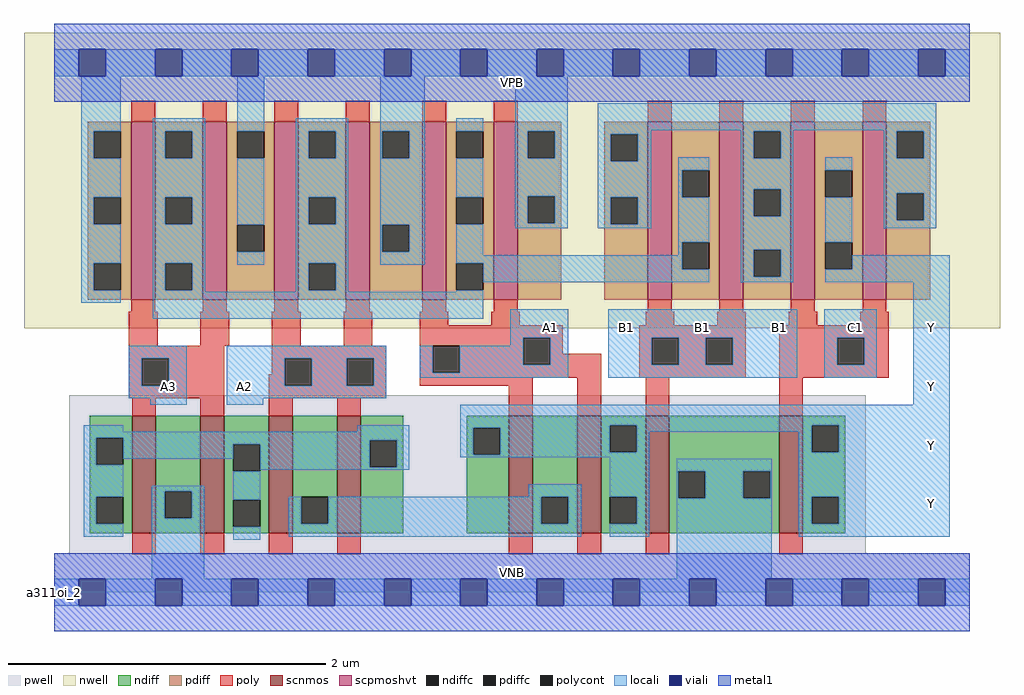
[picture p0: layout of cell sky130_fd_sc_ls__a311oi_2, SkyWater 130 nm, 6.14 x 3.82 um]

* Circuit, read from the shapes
.subckt sky130_fd_sc_ls__a311oi_2 A1 A2 A3 B1 C1 VGND VNB VPB VPWR Y
XM1 VGND A3 n1 VNB sky130_fd_pr__nfet_01v8 w=0.74 l=0.15 m=2
XM2 n2 A2 n1 VNB sky130_fd_pr__nfet_01v8 w=0.74 l=0.15 m=2
XM3 n2 A1 Y VNB sky130_fd_pr__nfet_01v8 w=0.74 l=0.15 m=2
XM4 VGND B1 Y VNB sky130_fd_pr__nfet_01v8 w=0.74 l=0.15
XM5 Y C1 VGND VNB sky130_fd_pr__nfet_01v8 w=0.74 l=0.15
XM6 n3 A3 VPWR VPB sky130_fd_pr__pfet_01v8_hvt w=1.12 l=0.15 m=2
XM7 n3 A2 VPWR VPB sky130_fd_pr__pfet_01v8_hvt w=1.12 l=0.15 m=2
XM8 n3 A1 VPWR VPB sky130_fd_pr__pfet_01v8_hvt w=1.12 l=0.15 m=2
XM9 n3 B1 n4 VPB sky130_fd_pr__pfet_01v8_hvt w=1.12 l=0.15 m=2
XM10 Y C1 n4 VPB sky130_fd_pr__pfet_01v8_hvt w=1.12 l=0.15 m=2
.ends

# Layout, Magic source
magic
tech sky130A
magscale 1 2
<< nwell >>
rect -38 332 1190 704
<< pwell >>
rect 19 49 1021 248
rect 0 0 1152 49
<< scnmos >>
rect 98 74 128 222
rect 184 74 214 222
rect 270 74 300 222
rect 356 74 386 222
rect 572 74 602 222
rect 658 74 688 222
rect 744 74 774 222
rect 912 74 942 222
<< scpmoshvt >>
rect 97 368 127 592
rect 187 368 217 592
rect 277 368 307 592
rect 367 368 397 592
rect 463 368 493 592
rect 553 368 583 592
rect 747 368 777 592
rect 837 368 867 592
rect 927 368 957 592
rect 1017 368 1047 592
<< ndiff >>
rect 45 194 98 222
rect 45 160 53 194
rect 87 160 98 194
rect 45 120 98 160
rect 45 86 53 120
rect 87 86 98 120
rect 45 74 98 86
rect 128 127 184 222
rect 128 93 139 127
rect 173 93 184 127
rect 128 74 184 93
rect 214 186 270 222
rect 214 152 225 186
rect 259 152 270 186
rect 214 116 270 152
rect 214 82 225 116
rect 259 82 270 116
rect 214 74 270 82
rect 300 120 356 222
rect 300 86 311 120
rect 345 86 356 120
rect 300 74 356 86
rect 386 191 439 222
rect 386 157 397 191
rect 431 157 439 191
rect 386 74 439 157
rect 519 207 572 222
rect 519 173 527 207
rect 561 173 572 207
rect 519 74 572 173
rect 602 120 658 222
rect 602 86 613 120
rect 647 86 658 120
rect 602 74 658 86
rect 688 210 744 222
rect 688 176 699 210
rect 733 176 744 210
rect 688 120 744 176
rect 688 86 699 120
rect 733 86 744 120
rect 688 74 744 86
rect 774 152 912 222
rect 774 118 785 152
rect 819 118 867 152
rect 901 118 912 152
rect 774 74 912 118
rect 942 210 995 222
rect 942 176 953 210
rect 987 176 995 210
rect 942 120 995 176
rect 942 86 953 120
rect 987 86 995 120
rect 942 74 995 86
<< pdiff >>
rect 42 580 97 592
rect 42 546 50 580
rect 84 546 97 580
rect 42 497 97 546
rect 42 463 50 497
rect 84 463 97 497
rect 42 414 97 463
rect 42 380 50 414
rect 84 380 97 414
rect 42 368 97 380
rect 127 580 187 592
rect 127 546 140 580
rect 174 546 187 580
rect 127 497 187 546
rect 127 463 140 497
rect 174 463 187 497
rect 127 414 187 463
rect 127 380 140 414
rect 174 380 187 414
rect 127 368 187 380
rect 217 580 277 592
rect 217 546 230 580
rect 264 546 277 580
rect 217 462 277 546
rect 217 428 230 462
rect 264 428 277 462
rect 217 368 277 428
rect 307 580 367 592
rect 307 546 320 580
rect 354 546 367 580
rect 307 497 367 546
rect 307 463 320 497
rect 354 463 367 497
rect 307 414 367 463
rect 307 380 320 414
rect 354 380 367 414
rect 307 368 367 380
rect 397 580 463 592
rect 397 546 413 580
rect 447 546 463 580
rect 397 462 463 546
rect 397 428 413 462
rect 447 428 463 462
rect 397 368 463 428
rect 493 580 553 592
rect 493 546 506 580
rect 540 546 553 580
rect 493 497 553 546
rect 493 463 506 497
rect 540 463 553 497
rect 493 414 553 463
rect 493 380 506 414
rect 540 380 553 414
rect 493 368 553 380
rect 583 580 638 592
rect 583 546 596 580
rect 630 546 638 580
rect 583 498 638 546
rect 583 464 596 498
rect 630 464 638 498
rect 583 368 638 464
rect 692 576 747 592
rect 692 542 700 576
rect 734 542 747 576
rect 692 497 747 542
rect 692 463 700 497
rect 734 463 747 497
rect 692 368 747 463
rect 777 531 837 592
rect 777 497 790 531
rect 824 497 837 531
rect 777 440 837 497
rect 777 406 790 440
rect 824 406 837 440
rect 777 368 837 406
rect 867 580 927 592
rect 867 546 880 580
rect 914 546 927 580
rect 867 507 927 546
rect 867 473 880 507
rect 914 473 927 507
rect 867 431 927 473
rect 867 397 880 431
rect 914 397 927 431
rect 867 368 927 397
rect 957 531 1017 592
rect 957 497 970 531
rect 1004 497 1017 531
rect 957 440 1017 497
rect 957 406 970 440
rect 1004 406 1017 440
rect 957 368 1017 406
rect 1047 580 1102 592
rect 1047 546 1060 580
rect 1094 546 1102 580
rect 1047 502 1102 546
rect 1047 468 1060 502
rect 1094 468 1102 502
rect 1047 368 1102 468
<< ndiffc >>
rect 53 160 87 194
rect 53 86 87 120
rect 139 93 173 127
rect 225 152 259 186
rect 225 82 259 116
rect 311 86 345 120
rect 397 157 431 191
rect 527 173 561 207
rect 613 86 647 120
rect 699 176 733 210
rect 699 86 733 120
rect 785 118 819 152
rect 867 118 901 152
rect 953 176 987 210
rect 953 86 987 120
<< pdiffc >>
rect 50 546 84 580
rect 50 463 84 497
rect 50 380 84 414
rect 140 546 174 580
rect 140 463 174 497
rect 140 380 174 414
rect 230 546 264 580
rect 230 428 264 462
rect 320 546 354 580
rect 320 463 354 497
rect 320 380 354 414
rect 413 546 447 580
rect 413 428 447 462
rect 506 546 540 580
rect 506 463 540 497
rect 506 380 540 414
rect 596 546 630 580
rect 596 464 630 498
rect 700 542 734 576
rect 700 463 734 497
rect 790 497 824 531
rect 790 406 824 440
rect 880 546 914 580
rect 880 473 914 507
rect 880 397 914 431
rect 970 497 1004 531
rect 970 406 1004 440
rect 1060 546 1094 580
rect 1060 468 1094 502
<< poly >>
rect 97 592 127 618
rect 187 592 217 618
rect 277 592 307 618
rect 367 592 397 618
rect 463 592 493 618
rect 553 592 583 618
rect 747 592 777 618
rect 837 592 867 618
rect 927 592 957 618
rect 1017 592 1047 618
rect 97 353 127 368
rect 187 353 217 368
rect 277 353 307 368
rect 367 353 397 368
rect 463 353 493 368
rect 553 353 583 368
rect 747 353 777 368
rect 837 353 867 368
rect 927 353 957 368
rect 1017 353 1047 368
rect 94 310 130 353
rect 184 310 220 353
rect 274 310 310 353
rect 364 310 400 353
rect 460 336 496 353
rect 550 336 586 353
rect 744 336 780 353
rect 834 336 870 353
rect 924 336 960 353
rect 1014 336 1050 353
rect 460 320 640 336
rect 460 310 590 320
rect 94 294 214 310
rect 94 260 110 294
rect 144 260 214 294
rect 274 294 418 310
rect 274 274 290 294
rect 94 244 214 260
rect 98 222 128 244
rect 184 222 214 244
rect 270 260 290 274
rect 324 260 368 294
rect 402 260 418 294
rect 460 276 476 310
rect 510 286 590 310
rect 624 300 640 320
rect 736 320 870 336
rect 624 286 688 300
rect 510 276 688 286
rect 460 270 688 276
rect 736 286 752 320
rect 786 286 820 320
rect 854 286 870 320
rect 736 270 870 286
rect 912 320 1050 336
rect 912 286 985 320
rect 1019 286 1050 320
rect 912 270 1050 286
rect 460 260 602 270
rect 270 244 418 260
rect 270 222 300 244
rect 356 222 386 244
rect 572 222 602 260
rect 658 222 688 270
rect 744 222 774 270
rect 912 222 942 270
rect 98 48 128 74
rect 184 48 214 74
rect 270 48 300 74
rect 356 48 386 74
rect 572 48 602 74
rect 658 48 688 74
rect 744 48 774 74
rect 912 48 942 74
<< polycont >>
rect 110 260 144 294
rect 290 260 324 294
rect 368 260 402 294
rect 476 276 510 310
rect 590 286 624 320
rect 752 286 786 320
rect 820 286 854 320
rect 985 286 1019 320
<< locali >>
rect 0 649 31 683
rect 65 649 127 683
rect 161 649 223 683
rect 257 649 319 683
rect 353 649 415 683
rect 449 649 511 683
rect 545 649 607 683
rect 641 649 703 683
rect 737 649 799 683
rect 833 649 895 683
rect 929 649 991 683
rect 1025 649 1087 683
rect 1121 649 1152 683
rect 34 580 84 649
rect 34 546 50 580
rect 34 497 84 546
rect 34 463 50 497
rect 34 414 84 463
rect 34 380 50 414
rect 34 364 84 380
rect 124 580 190 596
rect 124 546 140 580
rect 174 546 190 580
rect 124 497 190 546
rect 124 463 140 497
rect 174 463 190 497
rect 124 414 190 463
rect 124 380 140 414
rect 174 380 190 414
rect 230 580 264 649
rect 230 462 264 546
rect 230 412 264 428
rect 304 580 370 596
rect 304 546 320 580
rect 354 546 370 580
rect 304 497 370 546
rect 304 463 320 497
rect 354 463 370 497
rect 304 414 370 463
rect 124 378 190 380
rect 304 380 320 414
rect 354 380 370 414
rect 410 580 466 649
rect 410 546 413 580
rect 447 546 466 580
rect 410 462 466 546
rect 410 428 413 462
rect 447 428 466 462
rect 410 412 466 428
rect 506 580 540 596
rect 506 497 540 546
rect 506 424 540 463
rect 580 580 646 649
rect 580 546 596 580
rect 630 546 646 580
rect 580 498 646 546
rect 580 464 596 498
rect 630 464 646 498
rect 580 458 646 464
rect 684 581 1110 615
rect 684 576 751 581
rect 684 542 700 576
rect 734 542 751 576
rect 864 580 930 581
rect 684 497 751 542
rect 684 463 700 497
rect 734 463 751 497
rect 684 458 751 463
rect 785 531 824 547
rect 785 497 790 531
rect 785 440 824 497
rect 785 424 790 440
rect 506 414 790 424
rect 304 378 370 380
rect 540 406 790 414
rect 540 390 824 406
rect 864 546 880 580
rect 914 546 930 580
rect 1044 580 1110 581
rect 864 507 930 546
rect 864 473 880 507
rect 914 473 930 507
rect 864 431 930 473
rect 864 397 880 431
rect 914 397 930 431
rect 864 390 930 397
rect 970 531 1004 547
rect 970 440 1004 497
rect 1044 546 1060 580
rect 1094 546 1110 580
rect 1044 502 1110 546
rect 1044 468 1060 502
rect 1094 468 1110 502
rect 1044 458 1110 468
rect 1004 406 1127 424
rect 970 390 1127 406
rect 506 378 540 380
rect 124 344 540 378
rect 574 320 647 356
rect 574 310 590 320
rect 94 294 167 310
rect 94 260 110 294
rect 144 260 167 294
rect 94 244 167 260
rect 121 236 167 244
rect 217 294 418 310
rect 217 260 290 294
rect 324 260 368 294
rect 402 260 418 294
rect 460 276 476 310
rect 510 286 590 310
rect 624 286 647 320
rect 510 276 647 286
rect 460 270 647 276
rect 697 320 935 356
rect 697 286 752 320
rect 786 286 820 320
rect 854 286 935 320
rect 697 270 935 286
rect 969 320 1035 356
rect 969 286 985 320
rect 1019 286 1035 320
rect 969 270 1035 286
rect 217 244 418 260
rect 217 236 263 244
rect 1081 236 1127 390
rect 511 210 1127 236
rect 37 202 87 210
rect 381 202 447 210
rect 37 194 447 202
rect 37 160 53 194
rect 87 191 447 194
rect 87 186 397 191
rect 87 168 225 186
rect 37 120 87 160
rect 259 157 397 186
rect 431 157 447 191
rect 511 207 699 210
rect 511 173 527 207
rect 561 176 699 207
rect 733 202 953 210
rect 733 176 749 202
rect 561 173 749 176
rect 511 170 749 173
rect 259 154 447 157
rect 37 86 53 120
rect 37 70 87 86
rect 123 127 189 134
rect 123 93 139 127
rect 173 93 189 127
rect 123 17 189 93
rect 225 116 259 152
rect 597 120 663 136
rect 225 66 259 82
rect 295 86 311 120
rect 345 86 613 120
rect 647 86 663 120
rect 295 70 663 86
rect 699 120 749 170
rect 937 176 953 202
rect 987 176 1127 210
rect 733 86 749 120
rect 699 70 749 86
rect 783 152 903 168
rect 783 118 785 152
rect 819 118 867 152
rect 901 118 903 152
rect 783 17 903 118
rect 937 120 1127 176
rect 937 86 953 120
rect 987 86 1127 120
rect 937 70 1127 86
rect 0 -17 31 17
rect 65 -17 127 17
rect 161 -17 223 17
rect 257 -17 319 17
rect 353 -17 415 17
rect 449 -17 511 17
rect 545 -17 607 17
rect 641 -17 703 17
rect 737 -17 799 17
rect 833 -17 895 17
rect 929 -17 991 17
rect 1025 -17 1087 17
rect 1121 -17 1152 17
<< viali >>
rect 31 649 65 683
rect 127 649 161 683
rect 223 649 257 683
rect 319 649 353 683
rect 415 649 449 683
rect 511 649 545 683
rect 607 649 641 683
rect 703 649 737 683
rect 799 649 833 683
rect 895 649 929 683
rect 991 649 1025 683
rect 1087 649 1121 683
rect 31 -17 65 17
rect 127 -17 161 17
rect 223 -17 257 17
rect 319 -17 353 17
rect 415 -17 449 17
rect 511 -17 545 17
rect 607 -17 641 17
rect 703 -17 737 17
rect 799 -17 833 17
rect 895 -17 929 17
rect 991 -17 1025 17
rect 1087 -17 1121 17
<< metal1 >>
rect 0 683 1152 715
rect 0 649 31 683
rect 65 649 127 683
rect 161 649 223 683
rect 257 649 319 683
rect 353 649 415 683
rect 449 649 511 683
rect 545 649 607 683
rect 641 649 703 683
rect 737 649 799 683
rect 833 649 895 683
rect 929 649 991 683
rect 1025 649 1087 683
rect 1121 649 1152 683
rect 0 617 1152 649
rect 0 17 1152 49
rect 0 -17 31 17
rect 65 -17 127 17
rect 161 -17 223 17
rect 257 -17 319 17
rect 353 -17 415 17
rect 449 -17 511 17
rect 545 -17 607 17
rect 641 -17 703 17
rect 737 -17 799 17
rect 833 -17 895 17
rect 929 -17 991 17
rect 1025 -17 1087 17
rect 1121 -17 1152 17
rect 0 -49 1152 -17
<< labels >>
rlabel comment s 0 0 0 0 4 a311oi_2
flabel pwell s 0 0 1152 49 0 FreeSans 200 0 0 0 VNB
port 7 nsew ground bidirectional
flabel nwell s 0 617 1152 666 0 FreeSans 200 0 0 0 VPB
port 8 nsew power bidirectional
flabel metal1 s 0 617 1152 666 0 FreeSans 340 0 0 0 VPWR
port 9 nsew power bidirectional abutment
flabel metal1 s 0 0 1152 49 0 FreeSans 340 0 0 0 VGND
port 6 nsew ground bidirectional abutment
flabel locali s 1087 94 1121 128 0 FreeSans 340 0 0 0 Y
port 10 nsew signal output
flabel locali s 1087 168 1121 202 0 FreeSans 340 0 0 0 Y
port 10 nsew signal output
flabel locali s 1087 242 1121 276 0 FreeSans 340 0 0 0 Y
port 10 nsew signal output
flabel locali s 1087 316 1121 350 0 FreeSans 340 0 0 0 Y
port 10 nsew signal output
flabel locali s 991 316 1025 350 0 FreeSans 340 0 0 0 C1
port 5 nsew signal input
flabel locali s 703 316 737 350 0 FreeSans 340 0 0 0 B1
port 4 nsew signal input
flabel locali s 799 316 833 350 0 FreeSans 340 0 0 0 B1
port 4 nsew signal input
flabel locali s 895 316 929 350 0 FreeSans 340 0 0 0 B1
port 4 nsew signal input
flabel locali s 127 242 161 276 0 FreeSans 340 0 0 0 A3
port 3 nsew signal input
flabel locali s 223 242 257 276 0 FreeSans 340 0 0 0 A2
port 2 nsew signal input
flabel locali s 607 316 641 350 0 FreeSans 340 0 0 0 A1
port 1 nsew signal input
<< properties >>
string LEFsite unit
string LEFclass CORE
string FIXED_BBOX 0 0 1152 666
string GDS_FILE $PDKPATH/libs.ref/sky130_fd_sc_ls/gds/sky130_fd_sc_ls.gds
string LEFsymmetry X Y
string GDS_END 1639134
string GDS_START 1628886
<< end >>
